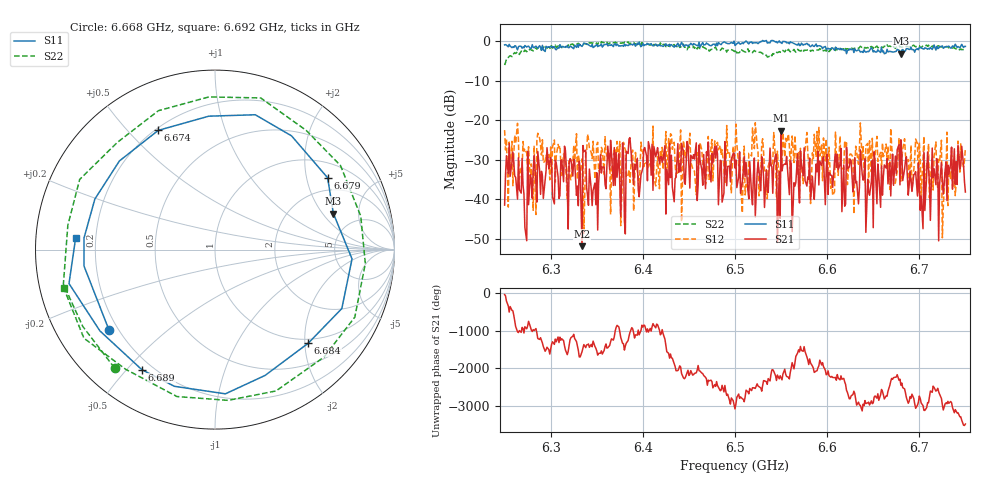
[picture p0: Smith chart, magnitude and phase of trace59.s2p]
# Hz S RI R 50
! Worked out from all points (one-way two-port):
!   401 points, 6.25 GHz to 6.75 GHz, reference 50 ohm
!   highest |S21| = -22.65 dB at 6.55 GHz (marker M1); lowest = -51.9 dB at 6.334 GHz (marker M2)
!   lowest |S11| = -3.2 dB at 6.68 GHz (marker M3), VSWR 5.44, Z = 168 + j129 ohm
!   |S11| at or under -10 dB: nowhere
!   |S22| runs from -6.1 to -0.1 dB; largest |S21 - S12| = 0.11
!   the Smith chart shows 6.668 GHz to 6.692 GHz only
!   S11 on the Smith chart (normalised r, x): 6.668 GHz: 0.16, -0.33; 6.674 GHz: 0.21, +0.61; 6.679 GHz: 1.49, +2.68; 6.684 GHz: 0.91, -2.07; 6.689 GHz: 0.16, -0.55; 6.692 GHz: 0.12, +0.04
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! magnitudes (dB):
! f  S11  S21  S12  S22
! 6.25 GHz  -1.0  -41.5  -22.5  -6.1
! 6.258 GHz  -1.7  -30.7  -25.4  -3.9
! 6.274 GHz  -1.5  -50.5  -28.3  -2.7
! 6.281 GHz  -1.6  -32.8  -42.8  -2.5
! 6.289 GHz  -1.6  -38.8  -26.3  -2.0
! 6.334 GHz  -1.4  -51.9  -29.8  -1.0
! 6.341 GHz  -1.0  -41.5  -24.9  -0.2
! 6.418 GHz  -0.9  -31.0  -37.3  -1.1
! 6.5 GHz  -1.1  -32.1  -28.9  -2.7
! 6.51 GHz  -0.3  -29.3  -26.6  -2.7
! 6.521 GHz  -0.5  -29.6  -27.2  -2.4
! 6.55 GHz  -0.4  -22.7  -29.8  -2.4
! 6.584 GHz  -1.0  -34.2  -28.3  -2.3
! 6.668 GHz  -2.6  -30.7  -37.5  -1.3
! 6.674 GHz  -2.7  -29.1  -35.9  -1.9
! 6.679 GHz  -2.6  -36.4  -29.0  -1.6
! 6.68 GHz  -3.2  -25.0  -35.4  -1.5
! 6.684 GHz  -2.7  -32.4  -24.7  -1.3
! 6.689 GHz  -2.1  -36.4  -35.9  -1.5
! 6.692 GHz  -2.2  -38.0  -37.9  -1.2
! 6.726 GHz  -1.8  -38.7  -41.9  -1.3
! 6.75 GHz  -1.4  -38.2  -27.1  -2.2
